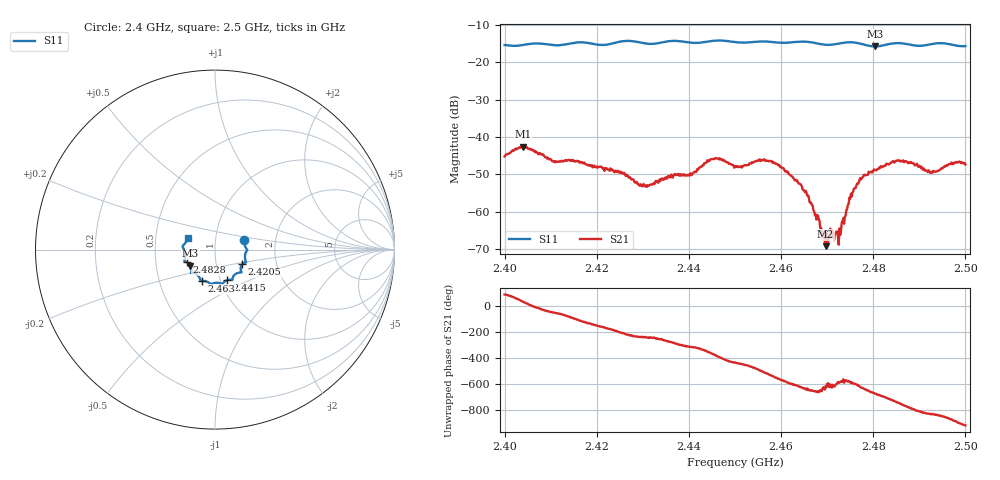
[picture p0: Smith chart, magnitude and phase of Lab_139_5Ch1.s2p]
# Hz S RI R 50
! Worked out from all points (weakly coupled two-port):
!   601 points, 2.4 GHz to 2.5 GHz, reference 50 ohm
!   highest |S21| = -42.58 dB at 2.404 GHz (marker M1); lowest = -69.3 dB at 2.4697 GHz (marker M2)
!   lowest |S11| = -15.7 dB at 2.4803 GHz (marker M3), VSWR 1.39, Z = 37.4 - j6.84 ohm
!   |S11| at or under -10 dB: start of sweep to end of sweep
!   S12 and S22 are empty: the file has one direction only
!   S11 on the Smith chart (normalised r, x): 2.4 GHz: 1.38, +0.15; 2.4205 GHz: 1.34, -0.22; 2.4415 GHz: 1.07, -0.38; 2.463 GHz: 0.82, -0.29; 2.4828 GHz: 0.72, -0.10; 2.5 GHz: 0.73, +0.10
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2.4e9  0.1634 0.0517  0.000464 0.00547  0 0  0 0
2.404e9  0.1716 0.0102  0.00646 0.00366  0 0  0 0
2.410833e9  0.1688 -0.0239  0.00282 -0.00378  0 0  0 0
2.416667e9  0.1729 -0.0699  -0.00222 -0.00405  0 0  0 0
2.4205e9  0.1521 -0.0815  -0.00364 -0.00155  0 0  0 0
2.4295e9  0.1334 -0.1283  -0.00115 0.00202  0 0  0 0
2.433333e9  0.1003 -0.1515  -0.000641 0.00234  0 0  0 0
2.4415e9  0.0657 -0.1707  0.00265 0.00209  0 0  0 0
2.4455e9  0.0421 -0.1913  0.00484 -0.00139  0 0  0 0
2.45e9  0.0243 -0.1862  0.000974 -0.00385  0 0  0 0
2.4575e9  -0.0288 -0.1874  -0.00475 -0.000639  0 0  0 0
2.463e9  -0.0722 -0.1739  -0.000938 0.00244  0 0  0 0
2.466667e9  -0.0822 -0.1669  0.000434 0.00115  0 0  0 0
2.469667e9  -0.0961 -0.1436  -5.84e-05 0.000338  0 0  0 0
2.4725e9  -0.1229 -0.1304  -0.000239 0.000268  0 0  0 0
2.476e9  -0.1335 -0.1279  -0.00105 0.00178  0 0  0 0
2.480333e9  -0.1378 -0.0891  0.00253 0.00256  0 0  0 0
2.482833e9  -0.1586 -0.07  0.00427 0.000923  0 0  0 0
2.483333e9  -0.1626 -0.0682  0.00426 0.000378  0 0  0 0
2.486833e9  -0.1694 -0.0565  0.00317 -0.00349  0 0  0 0
2.492833e9  -0.1769 0.00851  -0.00121 -0.00309  0 0  0 0
2.5e9  -0.153 0.0644  -0.00403 0.00146  0 0  0 0
